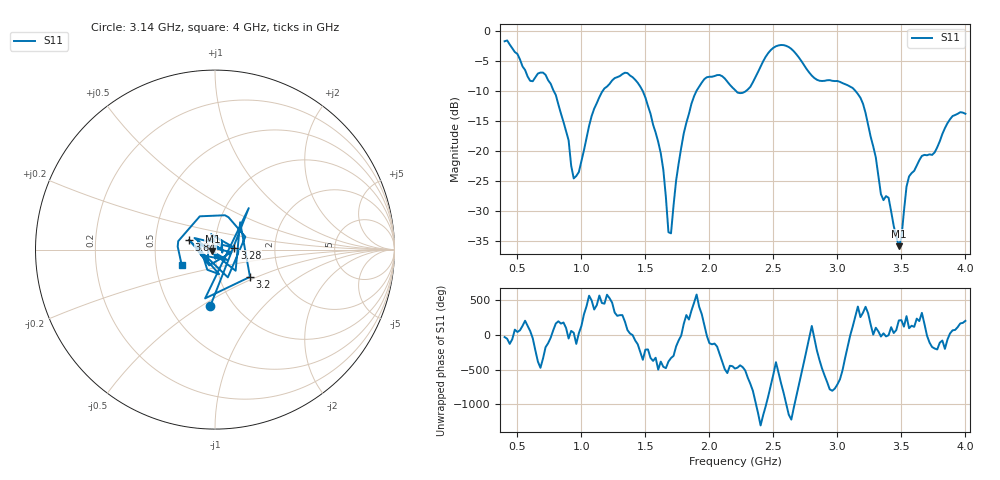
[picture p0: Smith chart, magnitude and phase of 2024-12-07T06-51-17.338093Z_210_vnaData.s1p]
!Created with skrf (http://scikit-rf.org).
# Hz S RI R 50.0
!freq ReS11 ImS11
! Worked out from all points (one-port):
!   181 points, 400 MHz to 4 GHz, reference 50 ohm
!   lowest |S11| = -35.9 dB at 3.48 GHz (marker M1), VSWR 1.03, Z = 48.6 - j0.783 ohm
!   |S11| at or under -10 dB: 783.4 MHz to 1.167 GHz (383.3 MHz wide, 39.3 % of centre); 1.479 GHz to 1.899 GHz (420.5 MHz wide, 24.9 % of centre); 3.141 GHz to end of sweep (the widest 3 of 4)
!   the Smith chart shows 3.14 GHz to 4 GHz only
!   S11 on the Smith chart (normalised r, x): 3.14 GHz: 0.78, -0.55; 3.2 GHz: 1.40, -0.45; 3.28 GHz: 1.24, +0.03; 3.84 GHz: 0.74, +0.08; 4 GHz: 0.68, -0.12
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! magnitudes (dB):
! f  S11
! 400 MHz  -1.7
! 600 MHz  -8.3
! 720 MHz  -7.3
! 860 MHz  -15.2
! 940 MHz  -24.6
! 1.14 GHz  -11.1
! 1.3 GHz  -7.5
! 1.44 GHz  -8.6
! 1.54 GHz  -13.8
! 1.64 GHz  -23.1
! 1.68 GHz  -33.5
! 1.7 GHz  -33.7
! 1.76 GHz  -22.1
! 1.86 GHz  -12.1
! 1.96 GHz  -8.0
! 2.2 GHz  -9.8
! 2.5 GHz  -2.8
! 2.66 GHz  -3.4
! 3.1 GHz  -9.3
! 3.14 GHz  -10.0
! 3.2 GHz  -12.1
! 3.28 GHz  -19.3
! 3.34 GHz  -27.2
! 3.4 GHz  -27.8
! 3.48 GHz  -35.9
! 3.56 GHz  -24.2
! 3.84 GHz  -16.2
! 4 GHz  -13.8
